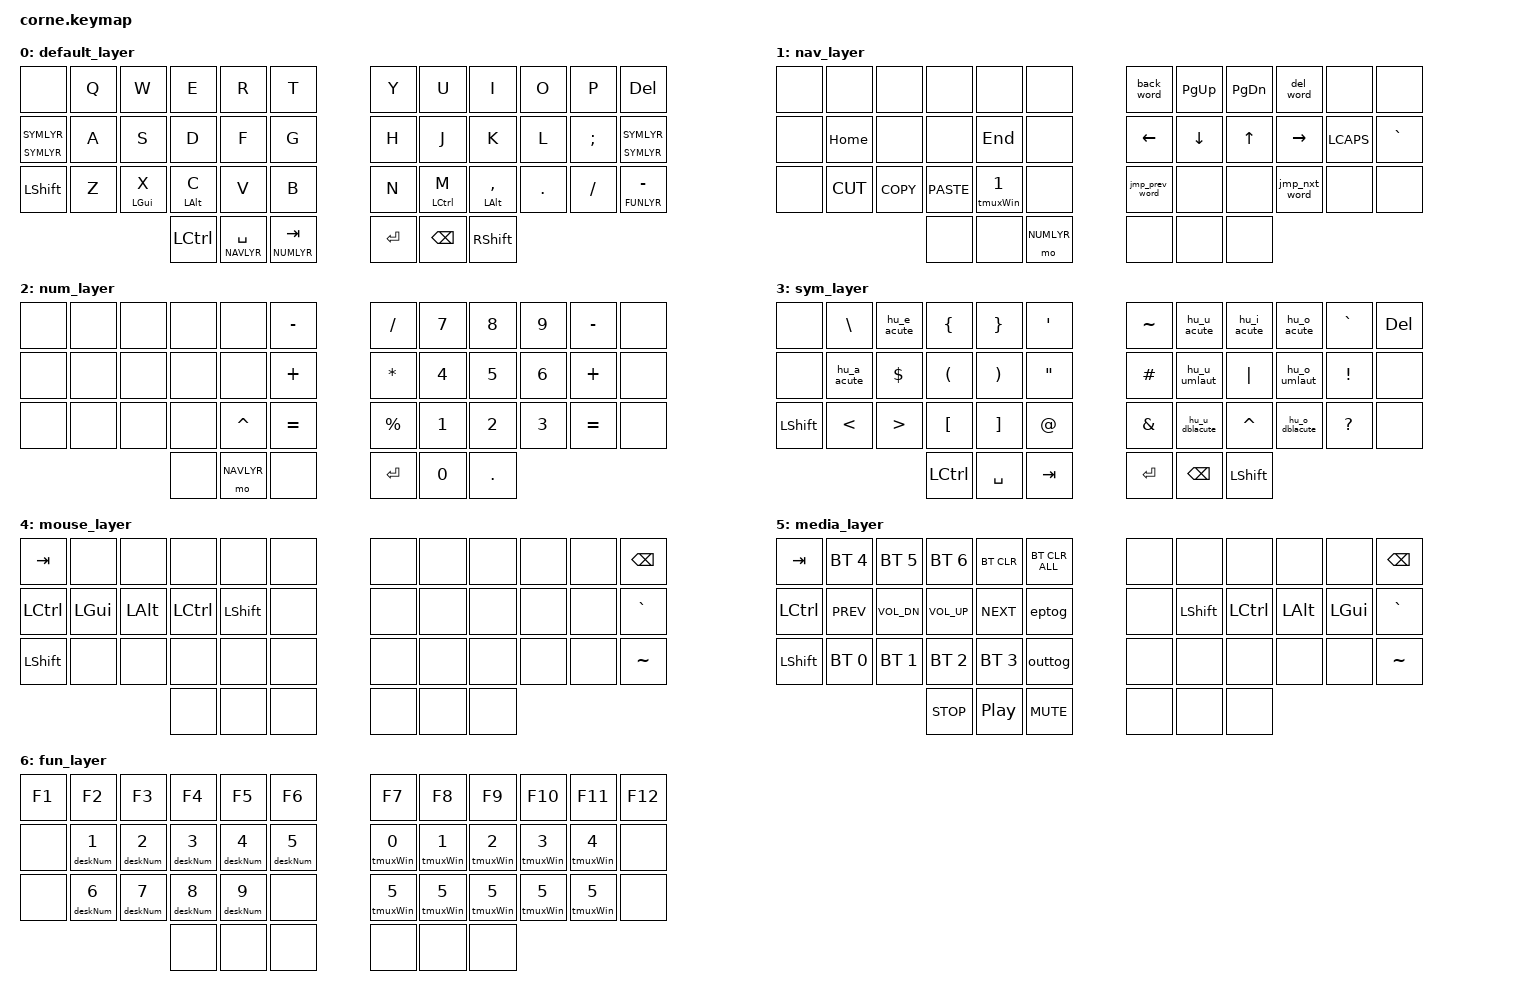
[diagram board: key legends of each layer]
#include <behaviors.dtsi>
#include <dt-bindings/zmk/keys.h>
#include <dt-bindings/zmk/bt.h>
#include <dt-bindings/zmk/ext_power.h>
#include <dt-bindings/zmk/outputs.h>
 
#define HOST_OS 1 //This must be before the include of zmk-helpers
#include <zmk-helpers/helper.h>

#include "hun_keys.h"

#define NAVLYR 1
#define NUMLYR 2
#define SYMLYR 3
#define TMUXLYR 4
#define MEDLYR 5
#define FUNLYR 6

/ {
///////////////// CONDITIONAL LAYERS //////////////////////////////
        conditional_layers {
            compatible = "zmk,conditional-layers";
            // Hold nav (left space) + num (left tab) together -> media layer (Bluetooth, media keys)
            tri_media {
                if-layers = <NAVLYR NUMLYR>;
                then-layer = <MEDLYR>;
            };
        };
///////////////////////////////////////////////////////////////////
///////////////// HUNGARIAN CHARACTER COMBOS //////////////////////////////
        combos {
            compatible = "zmk,combos";
/////////////////  SOFT OFF  //////////////////////////////
            combo_soft_off { // Soft off
                timeout-ms = <50>;
                key-positions = <36 38>;
                layers = <0>;
                bindings = <&soft_off>;
            };
            combo_jk_escape { // ESC if jk pressed as a combo 
                timeout-ms = <50>;
                key-positions = <19 20>;
                layers = <0>;
                bindings = <&kp ESC>;
            };
            combo_printScreen { // Printscreen for ESC+Q
                timeout-ms = <50>;
                key-positions = <0 1>;
                layers = <0>;
                bindings = <&kp PRINTSCREEN>;
            };
        };
///////////////////////////////////////////////////////////////////////////

        macros {
            deskNum: deskNum{
                compatible = "zmk,behavior-macro-one-param";
                #binding-cells = <1>;
                bindings
                    = <&macro_press &kp LGUI>
                    , <&macro_param_1to1>
                    , <&macro_tap &kp MACRO_PLACEHOLDER>
                    , <&macro_release &kp LGUI>
                ;
            }; 
            tmuxWin: tmuxWin{
                compatible = "zmk,behavior-macro-one-param";
                #binding-cells = <1>;
                bindings
                    = <&macro_press &kp LCTRL>
                    , <&macro_tap &kp A>
                    , <&macro_release &kp LCTRL>
                    , <&macro_param_1to1>
                    , <&macro_tap &kp MACRO_PLACEHOLDER>
                ;
            }; 
            back_word: back_word{
                compatible = "zmk,behavior-macro";
                #binding-cells = <0>;
                bindings
                    = <&macro_press &kp LCTRL>
                    , <&macro_tap &kp BKSP>
                    , <&macro_release &kp LCTRL>
                ;
            }; 
            del_word: del_word{
                compatible = "zmk,behavior-macro";
                #binding-cells = <0>;
                bindings
                    = <&macro_press &kp LCTRL>
                    , <&macro_tap &kp DEL>
                    , <&macro_release &kp LCTRL>
                ;
            }; 
            jmp_nxt_word: jmp_nxt_word{
                compatible = "zmk,behavior-macro";
                #binding-cells = <0>;
                bindings
                    = <&macro_press &kp LCTRL>
                    , <&macro_tap &kp RIGHT>
                    , <&macro_release &kp LCTRL>
                ;
            }; 
            jmp_prev_word: jmp_prev_word{
                compatible = "zmk,behavior-macro";
                #binding-cells = <0>;
                bindings
                    = <&macro_press &kp LCTRL>
                    , <&macro_tap &kp LEFT>
                    , <&macro_release &kp LCTRL>
                ;
            }; 
        };
        
        behaviors {
            bhm: balanced_homerow_mods {
                compatible = "zmk,behavior-hold-tap";
                #binding-cells = <2>;
                tapping-term-ms = <250>;    // <---[[moderate plus duration]]
                quick-tap-ms = <200>;
                flavor = "tap-preferred";
                bindings = <&kp>, <&kp>;
            };

            phm: pinky_homerow_mods {  // Pinky Home Row Mods
                compatible = "zmk,behavior-hold-tap";
                #binding-cells = <2>;
                tapping-term-ms = <350>;    // <---[[even longer duration for pinky]]
                quick-tap-ms = <200>;
                flavor = "tap-preferred";
                bindings = <&kp>, <&kp>;
            };

            ltc: layer_tap_custom {
                compatible = "zmk,behavior-hold-tap";
                #binding-cells = <2>;
                tapping-term-ms = <260>;
                quick-tap-ms = <200>;
                flavor = "tap-preferred";
                bindings = <&mo>, <&kp>;
            };
            
            eptog: extpwr_tog {
                compatible = "zmk,behavior-mod-morph";
                #binding-cells = <0>;
                bindings = <&ext_power EP_TOG>, <&ext_power EP_OFF>;
                mods = <(MOD_LSFT|MOD_RSFT)>;
            }; 

            outtog: output_tog {
                compatible = "zmk,behavior-mod-morph";
                #binding-cells = <0>;
                bindings = <&out OUT_TOG>, <&out OUT_USB>;
                mods = <(MOD_LSFT|MOD_RSFT)>;
            }; 

            osl_mo: osl_mo {
                compatible = "zmk,behavior-hold-tap";
                #binding-cells = <2>;
                tapping-term-ms = <260>;
                quick-tap-ms = <200>;
                flavor = "hold-preferred";
                bindings = <&mo>, <&sl>;
            };
        };

        keymap {
                compatible = "zmk,keymap";

                default_layer {  //LAYER 0
// -----------------------------------------------------------------------------------------
// |  TAB |  Q  |  W  |  E  |  R  |  T  |   |  Y  |  U   |  I  |  O  |  P  | BKSP |
// |  SYM |  A  |  S  |  D  |  F  |  G  |   |  H  |  J   |  K  |  L  |  ;  |  '   |
// | SHFT |  Z  |  X  |  C  |  V  |  B  |   |  N  |  M   |  ,  |  .  |  /  | ESC  |
//                    | ESC | SPC | TAB |   | ENT | BKSP  | DEL |
                        bindings = <
   &none                    &kp Q    &kp W         &kp E         &kp R    &kp T           &kp Y    &kp U           &kp I              &kp O    &kp P       &kp DEL
   &osl_mo SYMLYR SYMLYR    &kp A    &kp S         &kp D         &kp F    &kp G           &kp H    &kp J           &kp K              &kp L    &kp SEMI    &osl_mo SYMLYR SYMLYR
   &kp LSHFT                &kp Z    &bhm LGUI X   &bhm LALT C   &kp V    &kp B           &kp N    &bhm LCTRL M    &bhm LALT COMMA    &kp DOT  &kp FSLH    &ltc FUNLYR MINUS
                        &kp LCTRL  &ltc NAVLYR SPC  &ltc NUMLYR TAB                                        &kp RET   &kp BSPC &kp RSHFT
                        >;
                };


                nav_layer {  //LAYER 1
// -----------------------------------------------------------------------------------------
// |  TAB |      |      |       |        |   |||  REDO | PASTE  | COPY |  CUT  |   UNDO  | BKSP |
// | CTRL | LGUI | LALT | LCTRL | LSHIFT |   |||  LEFT |  DOWN  |  UP  | RIGHT | CAPSLCK |  `   |
// | SHFT |      |      |       |        |   |||  HOME | PGDOWN | PGUP |  END  |  INSERT |  ~   |
//                    | ESC |     | TAB |            | ENT | BKSP | DEL |
                        bindings = <
   &none    &none        &none         &none          &none      &none           &back_word         &kp PAGE_UP    &kp PAGE_DOWN    &del_word        &none        &none
   &none    &kp HOME     &none         &none          &kp END    &none           &kp LEFT           &kp DOWN       &kp UP           &kp RIGHT        &kp LCAPS    &kp GRAVE
   &none    &kp K_CUT    &kp K_COPY    &kp K_PASTE    &tmuxWin N1      &none           &jmp_prev_word     &none          &none            &jmp_nxt_word     &none        &none
                               &none &none   &mo NUMLYR                                  &none   &none    &none
                        >;
                };

                num_layer { //LAYER 2
// -----------------------------------------------------------------------------------------
// |  TAB |      |      |       |        |   |||    SLASH   | N7 | N8 | N9 |  MINUS    | BKSP |
// | CTRL | LGUI | LALT | LCTRL | LSHIFT |   |||    STAR    | N4 | N5 | N6 |  PLUS |  `   |
// | SHFT |      |      |       |        |   |||    PERCENT | N1 | N2 | N3 |  EQUAL   |  ~   |
//                    | ESC |     |    |              | PERIOD | N0 | MINUS |
                        bindings = <
   &none    &none    &none    &none    &none      &kp MINUS          &kp SLASH      &kp N7  &kp N8  &kp N9    &kp MINUS    &none
   &none    &none    &none    &none    &none      &kp PLUS           &kp STAR       &kp N4  &kp N5  &kp N6    &kp PLUS     &none
   &none    &none    &none    &none    &kp CARET  &kp EQUAL          &kp PERCENT    &kp N1  &kp N2  &kp N3    &kp EQUAL    &none
                           &none   &mo NAVLYR   &none                         &kp RET   &kp N0   &kp PERIOD
                        >;
                };

                sym_layer {  //LAYER 3
// -----------------------------------------------------------------------------------------
// | none  |  \  |  é  |  {  |  }  |  '  |||  ~  |  ú  |  í  |  ó  |  `  | DEL |
// | none  |  á  |  á  |  (  |  )  |  "  |||  #  |  ü  |  |  |  ö  |  !  |     |
// | LSHFT |  <  |  >  |  [  |  ]  |  @  |||  &  |  ű  | none|  ő  |  ?  | none|
//                 |  #  |  +  |  !  |              |  |   |   |
                        bindings = <
   &none    &kp BSLH         &hu_e_acute         &kp LBRC    &kp RBRC     &kp APOSTROPHE          &kp TILDE        &hu_u_acute       &hu_i_acute    &hu_o_acute       &kp GRAVE          &kp DEL
   &none    &hu_a_acute      &kp DOLLAR          &kp LPAR    &kp RPAR     &kp DOUBLE_QUOTES       &kp HASH         &hu_u_umlaut      &kp PIPE       &hu_o_umlaut      &kp EXCLAMATION    &none
 &kp LSHFT  &kp LESS_THAN    &kp GREATER_THAN    &kp LBKT    &kp RBKT     &kp AT_SIGN              &kp AMPERSAND    &hu_u_dblacute    &kp CARET          &hu_o_dblacute    &kp QUESTION       &none
                                              &kp LCTRL   &kp SPC    &kp TAB                                 &kp RET  &kp BSPC   &kp LSHFT
                        >;
                };

                mouse_layer {  // LAYER 4    //This is not ready!!!!!!!!!!!!!!!!
// -----------------------------------------------------------------------------------------
// |  TAB |      |      |       |        |   |||    REDO   | PASTE | COPY | CUT    |  UNDO  | BKSP |
// | CTRL | LGUI | LALT | LCTRL | LSHIFT |   |||    LEFT   | DOWN  |  UP  | RIGHT  |        |  `   |
// | SHFT |      |      |       |        |   |||    LEFT2  | DOWN2 | UP2  | RIGHT2 |        |  ~   |
//                    | ESC |     |    |              | LEFTBUTT | MIDBUTT | RIGHTBUTT |
                        bindings = <
   &kp  TAB  &none       &none     &none      &none     &none          &none      &none  &none  &none     &none     &kp BSPC
   &kp LCTRL &kp LGUI  &kp LALT  &kp LCTRL  &kp LSHIFT  &none          &none     &none  &none  &none   &none  &kp GRAVE
   &kp LSHFT  &none      &none     &none      &none     &none          &none  &none  &none  &none    &none     &kp TILDE
                  &none &none   &none                                          &none   &none   &none
                        >;
                };

                media_layer { //LAYER 5
// -----------------------------------------------------------------------------------------
// |  TAB |  BT4   |    BT5     |   BT6    |        | BT_CLR_ALL  |||    |        |       |      |      | BKSP |
// | CTRL |  PREV  |  VOL_DOWN  |  VOL_UP  |  NEXT  |  EP_TGL     |||    | LSHIFT | LCTRL | LALT | LGUI | `'   |
// | SHFT |  BT0   |    BT1     |   BT2    |   BT3  |  OUT_TOG    |||    |        |       |      |      | ESC  |
//                 |  STOP  |  PLAY  |  MUTE  |                                       |  |   |   |
                        bindings = <
   &kp  TAB    &bt BT_SEL 4  &bt BT_SEL 5  &bt BT_SEL 6   &bt BT_CLR      &bt BT_CLR_ALL        &none   &none        &none     &none     &none    &kp BSPC
   &kp LCTRL    &kp C_PREV   &kp C_VOL_DN  &kp C_VOL_UP   &kp C_NEXT        &eptog              &none &kp LSHIFT   &kp LCTRL  &kp LALT  &kp LGUI  &kp GRAVE 
   &kp LSHFT   &bt BT_SEL 0  &bt BT_SEL 1  &bt BT_SEL 2  &bt BT_SEL 3       &outtog             &none   &none        &none     &none     &none    &kp TILDE
                      &kp C_STOP &kp C_PLAY_PAUSE   &kp C_MUTE                                              &none  &none   &none
                        >;
                };

                fun_layer {  //LAYER 6
// -----------------------------------------------------------------------------------------
// |  F1  |    F2    |    F3    |    F4    |    F5    |    F6    |||    F7    |    F8    |    F9    |    F10   |    F11   | F12 |
// |      | DeskNum1 | DeskNum2 | DeskNum3 | DeskNum4 | DeskNum5 ||| TmuxWin0 | TmuxWin1 | TmuxWin2 | TmuxWin3 | TmuxWin4 |     |
// |      | DeskNum6 | DeskNum7 | DeskNum8 | DeskNum9 |          ||| TmuxWin5 | TmuxWin6 | TmuxWin7 | TmuxWin8 | TmuxWin9 |     |
//                 |    |    |    |              |  |   |   |
                        bindings = <
   &kp F1    &kp F2         &kp F3       &kp F4      &kp F5     &kp F6           &kp F7          &kp F8     &kp F9      &kp F10     &kp F11     &kp F12
   &none     &deskNum N1  &deskNum N2 &deskNum N3 &deskNum N4 &deskNum N5      &tmuxWin N0  &tmuxWin N1  &tmuxWin N2  &tmuxWin N3  &tmuxWin N4  &none
   &none     &deskNum N6  &deskNum N7 &deskNum N8 &deskNum N9 &none            &tmuxWin N5  &tmuxWin N5  &tmuxWin N5  &tmuxWin N5  &tmuxWin N5  &none
                                 &none   &none   &none                    &none  &none   &none
                        >;
                };

        };
};
